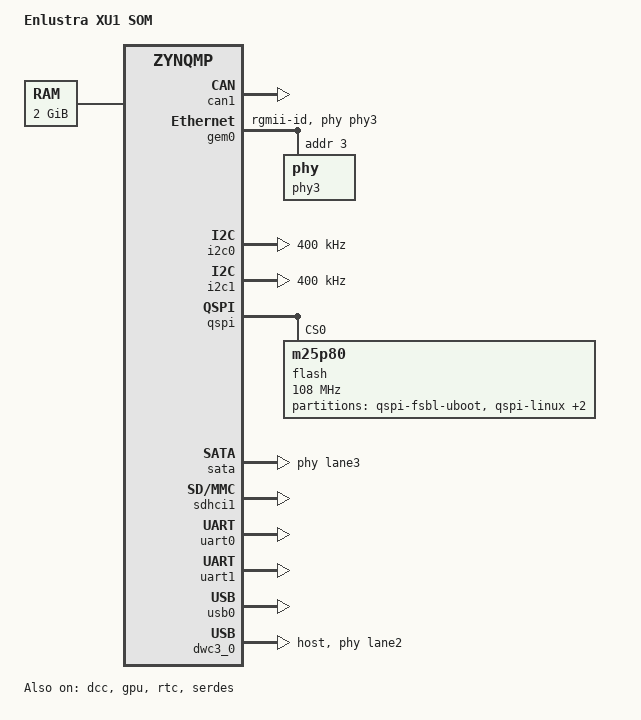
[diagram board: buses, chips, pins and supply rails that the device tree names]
/*
 * dts file for Enclustra XU1 SOM
 *
 * (C) Copyright 2015, Xilinx, Inc.
 * (C) Copyright 2016, Antmicro Ltd
 *
 * This program is free software; you can redistribute it and/or
 * modify it under the terms of the GNU General Public License as
 * published by the Free Software Foundation; either version 2 of
 * the License, or (at your option) any later version.
 */

/dts-v1/;

#include "zynqmp.dtsi"
#include "zynqmp-clk.dtsi"
#include <dt-bindings/gpio/gpio.h>
#include <dt-bindings/phy/phy.h>

/ {
	model = "Enlustra XU1 SOM";
	compatible = "xlnx,zynqmp";

	aliases {
		ethernet0 = &gem0;
		gpio0 = &gpio;
		i2c0 = &i2c0;
		i2c1 = &i2c1;
		mmc0 = &sdhci1;
		rtc0 = &rtc;
		serial0 = &uart0;
		serial1 = &uart1;
		serial2 = &dcc;
		spi0 = &qspi;
		usb0 = &usb0;
	};

	chosen {
		bootargs = "earlycon";
		stdout-path = "serial0:115200n8";
	};

	memory {
		device_type = "memory";
		reg = <0x0 0x0 0x0 0x80000000>;
	};
};

&can1 {
	status = "okay";
};

&dcc {
	status = "okay";
};

/* fpd_dma clk 667MHz, lpd_dma 500MHz */
&fpd_dma_chan1 {
	status = "okay";
	xlnx,include-sg; /* for testing purpose */
	xlnx,overfetch; /* for testing purpose */
	xlnx,ratectrl = <0>; /* for testing purpose */
	xlnx,src-issue = <31>;
};

&fpd_dma_chan2 {
	status = "okay";
	xlnx,ratectrl = <100>; /* for testing purpose */
	xlnx,src-issue = <4>; /* for testing purpose */
};

&fpd_dma_chan3 {
	status = "okay";
};

&fpd_dma_chan4 {
	status = "okay";
	xlnx,include-sg; /* for testing purpose */
};

&fpd_dma_chan5 {
	status = "okay";
};

&fpd_dma_chan6 {
	status = "okay";
	xlnx,include-sg; /* for testing purpose */
};

&fpd_dma_chan7 {
	status = "okay";
};

&fpd_dma_chan8 {
	status = "okay";
	xlnx,include-sg; /* for testing purpose */
};

&gem0 {
	status = "okay";
	local-mac-address = [00 0a 35 00 02 90];
	phy-mode = "rgmii-id";
	phy-handle = <&phy3>;
	phy3: phy@3 {
		reg = <0x3>;
	};
};

&gpio {
	status = "okay";
};

&gpu {
	status = "okay";
};

&i2c0 {
	status = "okay";
	clock-frequency = <400000>;
};

&i2c1 {
	status = "okay";
	clock-frequency = <400000>;
};

&pcie {
/*	status = "okay"; */
};

&qspi {
	status = "okay";
	is-dual = <1>;
	flash@0 {
		compatible = "m25p80"; /* 32MB */
		#address-cells = <1>;
		#size-cells = <1>;
		reg = <0x0>;
		spi-tx-bus-width = <1>;
		spi-rx-bus-width = <4>; /* FIXME also DUAL configuration possible */
		spi-max-frequency = <108000000>; /* Based on DC1 spec */
		partition@qspi-fsbl-uboot { /* for testing purpose */
			label = "qspi-fsbl-uboot";
			reg = <0x0 0x100000>;
		};
		partition@qspi-linux { /* for testing purpose */
			label = "qspi-linux";
			reg = <0x100000 0x500000>;
		};
		partition@qspi-device-tree { /* for testing purpose */
			label = "qspi-device-tree";
			reg = <0x600000 0x20000>;
		};
		partition@qspi-rootfs { /* for testing purpose */
			label = "qspi-rootfs";
			reg = <0x620000 0x5E0000>;
		};
	};
};

&rtc {
	status = "okay";
};

&sata {
	status = "okay";
	/* SATA OOB timing settings */
	ceva,p0-cominit-params = /bits/ 8 <0x18 0x40 0x18 0x28>;
	ceva,p0-comwake-params = /bits/ 8 <0x06 0x14 0x08 0x0E>;
	ceva,p0-burst-params = /bits/ 8 <0x13 0x08 0x4A 0x06>;
	ceva,p0-retry-params = /bits/ 16 <0x96A4 0x3FFC>;
	ceva,p1-cominit-params = /bits/ 8 <0x18 0x40 0x18 0x28>;
	ceva,p1-comwake-params = /bits/ 8 <0x06 0x14 0x08 0x0E>;
	ceva,p1-burst-params = /bits/ 8 <0x13 0x08 0x4A 0x06>;
	ceva,p1-retry-params = /bits/ 16 <0x96A4 0x3FFC>;
	phy-names = "sata-phy";
	phys = <&lane3 PHY_TYPE_SATA 1 1 125000000>;
};

/* SD1 with level shifter */
&sdhci1 {
	status = "okay";
	no-1-8-v;	/* for 1.0 silicon */
	wp-inverted;
	xlnx,mio_bank = <1>;
};

&serdes {
	status = "okay";
};

&uart0 {
	status = "okay";
};

&uart1 {
	status = "okay";
};

/* ULPI SMSC USB3320 */
&usb0 {
	status = "okay";
};

&dwc3_0 {
	status = "okay";
	dr_mode = "host";
	snps,usb3_lpm_capable;
	phy-names = "usb3-phy";
	phys = <&lane2 PHY_TYPE_USB3 0 2 26000000>;
};

